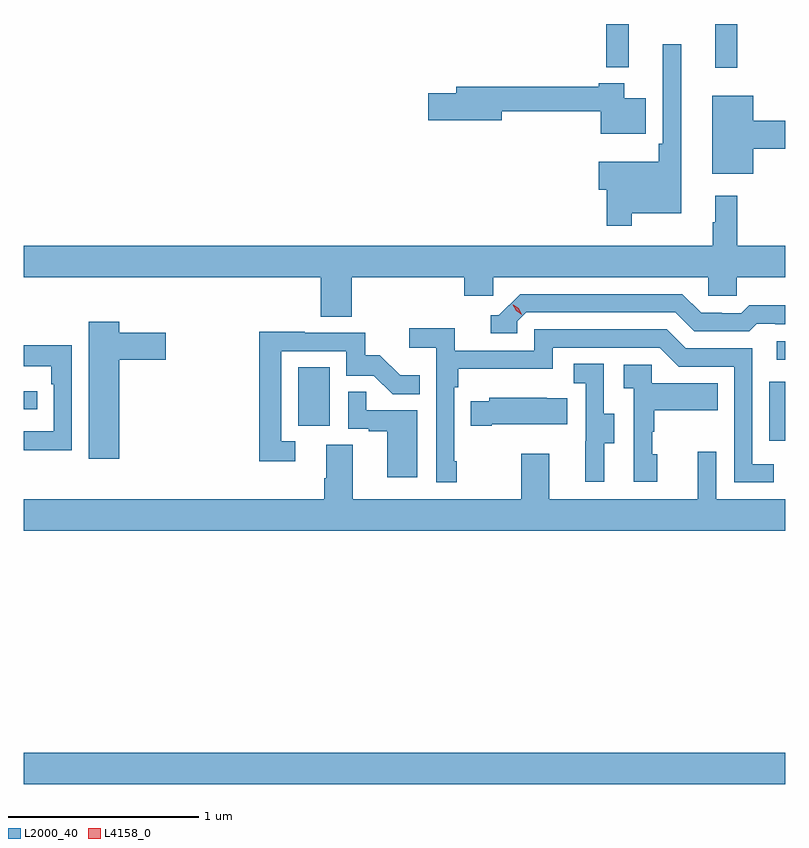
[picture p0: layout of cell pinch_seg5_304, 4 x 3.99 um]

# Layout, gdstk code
import gdstk
lib = gdstk.Library(unit=1e-6, precision=1e-09)
def R(c, l, rs):  # rectangles x0, y0, x1, y1
    for r in rs: c.add(gdstk.rectangle(r[:2], r[2:], *l))
def P(c, l, *ps):  # polygons
    for p in ps: c.add(gdstk.Polygon(p, *l))
L2000_40 = (2000, 40)
L4158_0 = (4158, 0)

pinch_seg5_304 = lib.new_cell('pinch_seg5_304')
R(pinch_seg5_304, L2000_40, [(886.932,876.74,890.932,876.904), (890.85,878.544,890.932,878.854), (888.374,878.622,888.538,878.929), (886.932,878.709,887.002,878.805), (890.889,878.97,890.932,879.066), (890.564,880.503,890.681,880.734), (889.993,880.508,890.111,880.734)])
P(pinch_seg5_304, L2000_40, [(890.125,879.74),(890.386,879.74),(890.386,880.627),(890.289,880.627),(890.289,880.105),(890.269,880.105),(890.269,880.009),(889.952,880.009),(889.952,879.862),(889.996,879.862),(889.996,879.675),(890.125,879.675)],
  [(890.2,880.345),(890.086,880.345),(890.086,880.423),(889.952,880.423),(889.952,880.405),(889.205,880.405),(889.205,880.371),(889.056,880.371),(889.056,880.229),(889.444,880.229),(889.444,880.276),(889.964,880.276),(889.964,880.157),(890.2,880.157)],
  [(890.764,880.079),(890.932,880.079),(890.932,880.226),(890.764,880.226),(890.764,880.357),(890.549,880.357),(890.549,879.947),(890.764,879.947)],
  [(888.656,879.404),(889.247,879.404),(889.247,879.306),(889.398,879.306),(889.398,879.404),(890.529,879.404),(890.529,879.306),(890.679,879.306),(890.679,879.404),(890.932,879.404),(890.932,879.568),(890.681,879.568),(890.681,879.832),(890.564,879.832),(890.564,879.692),(890.553,879.692),(890.553,879.568),(886.932,879.568),(886.932,879.404),(888.491,879.404),(888.491,879.196),(888.656,879.196)],
  [(889.524,879.171),(889.572,879.219),(890.355,879.219),(890.454,879.12),(890.743,879.12),(890.782,879.159),(890.881,879.159),(890.881,879.156),(890.932,879.156),(890.932,879.256),(890.743,879.256),(890.701,879.213),(890.598,879.213),(890.598,879.216),(890.491,879.216),(890.392,879.315),(889.539,879.315),(889.428,879.204),(889.385,879.204),(889.385,879.108),(889.524,879.108)],
  [(887.434,878.969),(887.677,878.969),(887.677,879.111),(887.434,879.111),(887.434,879.169),(887.273,879.169),(887.273,878.448),(887.434,878.448)],
  [(889.207,878.437),(889.194,878.437),(889.194,878.825),(889.214,878.825),(889.214,878.921),(889.71,878.921),(889.71,879.033),(890.274,879.033),(890.373,878.934),(890.664,878.934),(890.664,878.325),(890.873,878.325),(890.873,878.421),(890.76,878.421),(890.76,879.03),(890.41,879.03),(890.311,879.129),(889.614,879.129),(889.614,879.018),(889.196,879.018),(889.196,879.134),(888.957,879.134),(888.957,879.032),(889.098,879.032),(889.098,878.325),(889.207,878.325)],
  [(888.358,878.541),(888.285,878.541),(888.285,879.015),(888.627,879.015),(888.627,878.886),(888.771,878.886),(888.869,878.788),(889.013,878.788),(889.013,878.887),(888.909,878.887),(888.802,878.994),(888.726,878.994),(888.726,879.111),(888.407,879.111),(888.407,879.116),(888.169,879.116),(888.169,878.436),(888.358,878.436)],
  [(887.184,879.046),(886.932,879.046),(886.932,878.936),(887.075,878.936),(887.075,878.84),(887.088,878.84),(887.088,878.595),(886.932,878.595),(886.932,878.494),(887.184,878.494)],
  [(889.981,878.53),(890.035,878.53),(890.035,878.685),(889.98,878.685),(889.98,878.948),(889.821,878.948),(889.821,878.845),(889.884,878.845),(889.884,878.541),(889.883,878.541),(889.883,878.328),(889.981,878.328)],
  [(890.26,878.472),(890.235,878.472),(890.235,878.591),(890.245,878.591),(890.245,878.705),(890.579,878.705),(890.579,878.845),(890.232,878.845),(890.232,878.943),(890.085,878.943),(890.085,878.819),(890.136,878.819),(890.136,878.328),(890.26,878.328)],
  [(889,878.703),(888.731,878.703),(888.731,878.801),(888.636,878.801),(888.636,878.607),(888.743,878.607),(888.743,878.595),(888.842,878.595),(888.842,878.352),(889,878.352)],
  [(889.39,878.63),(889.787,878.63),(889.787,878.767),(889.679,878.767),(889.679,878.77),(889.377,878.77),(889.377,878.752),(889.279,878.752),(889.279,878.623),(889.39,878.623)],
  [(890.932,878.236),(890.571,878.236),(890.571,878.485),(890.474,878.485),(890.474,878.236),(889.693,878.236),(889.693,878.476),(889.546,878.476),(889.546,878.236),(888.661,878.236),(888.661,878.522),(888.521,878.522),(888.521,878.348),(888.509,878.348),(888.509,878.236),(886.932,878.236),(886.932,878.072),(890.932,878.072)])
P(pinch_seg5_304, L4158_0, [(889.549,879.206),(889.518,879.226),(889.502,879.258),(889.502,879.258),(889.503,879.258),(889.533,879.239),(889.549,879.206),(889.549,879.206)])

lib.write_gds('pinch_seg5_304.gds')
